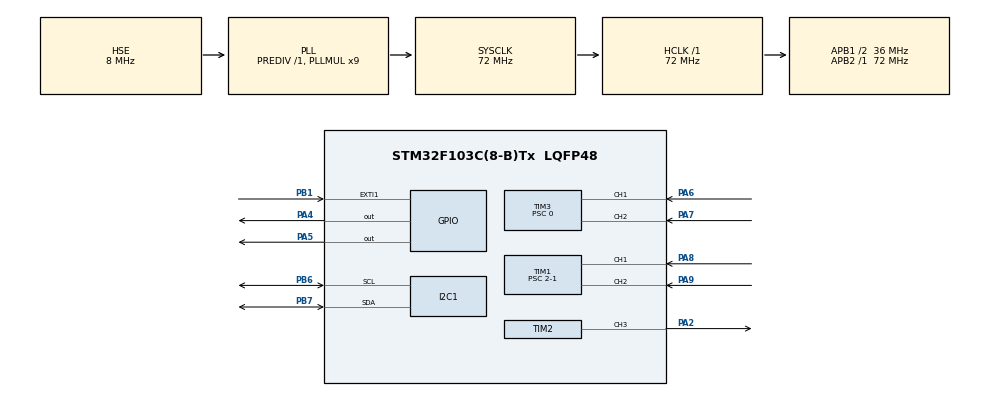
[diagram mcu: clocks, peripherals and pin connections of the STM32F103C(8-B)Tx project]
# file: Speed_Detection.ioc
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Mcu.Family=STM32F1
Mcu.Name=STM32F103C(8-B)Tx
Mcu.Package=LQFP48
NVIC.PriorityGroup=NVIC_PRIORITYGROUP_4
NVIC.TIM3_IRQn=true\:0\:0\:false\:false\:true\:true\:true\:true
PA13.Mode=Serial_Wire
PA13.Signal=SYS_JTMS-SWDIO
PA14.Mode=Serial_Wire
PA14.Signal=SYS_JTCK-SWCLK
PA2.Signal=S_TIM2_CH3
PA4.Signal=GPIO_Output
PA5.Signal=GPIO_Output
PA6.Signal=S_TIM3_CH1
PA7.Signal=S_TIM3_CH2
PA8.Signal=S_TIM1_CH1
PA9.Signal=S_TIM1_CH2
PB1.Signal=GPXTI1
PB6.Mode=I2C
PB6.Signal=I2C1_SCL
PB7.Mode=I2C
PB7.Signal=I2C1_SDA
PD0-OSC_IN.Mode=HSE-External-Oscillator
PD0-OSC_IN.Signal=RCC_OSC_IN
PD1-OSC_OUT.Mode=HSE-External-Oscillator
PD1-OSC_OUT.Signal=RCC_OSC_OUT
ProjectManager.HeapSize=0x200
ProjectManager.StackSize=0x400
ProjectManager.TargetToolchain=STM32CubeIDE
RCC.AHBFreq_Value=72000000
RCC.APB1CLKDivider=RCC_HCLK_DIV2
RCC.APB1Freq_Value=36000000
RCC.APB1TimFreq_Value=72000000
RCC.APB2Freq_Value=72000000
RCC.APB2TimFreq_Value=72000000
RCC.HCLKFreq_Value=72000000
RCC.PLLMUL=RCC_PLL_MUL9
RCC.PLLSourceVirtual=RCC_PLLSOURCE_HSE
RCC.SYSCLKFreq_VALUE=72000000
RCC.SYSCLKSource=RCC_SYSCLKSOURCE_PLLCLK
RCC.USBFreq_Value=72000000
SH.S_TIM1_CH1.0=TIM1_CH1,Encoder_Interface
SH.S_TIM1_CH2.0=TIM1_CH2,Encoder_Interface
SH.S_TIM2_CH3.0=TIM2_CH3,PWM Generation3 CH3
SH.S_TIM3_CH1.0=TIM3_CH1,Encoder_Interface
SH.S_TIM3_CH2.0=TIM3_CH2,Encoder_Interface
TIM1.Prescaler=2-1
TIM2.Channel-PWM\ Generation3\ CH3=TIM_CHANNEL_3
TIM2.OCFastMode_PWM-PWM\ Generation3\ CH3=TIM_OCFAST_ENABLE
TIM2.Period=100-1
TIM2.Prescaler=72-1
TIM2.Pulse-PWM\ Generation3\ CH3=50
TIM3.Period=65535
TIM3.Prescaler=0
VP_TIM2_VS_ClockSourceINT.Mode=Internal
board=custom

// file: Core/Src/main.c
/* USER CODE BEGIN Header */
/**
  ******************************************************************************
  * @file           : main.c
  * @brief          : Main program body
  ******************************************************************************
  * @attention
  *
  * Copyright (c) 2025 STMicroelectronics.
  * All rights reserved.
  *
  * This software is licensed under terms that can be found in the LICENSE file
  * in the root directory of this software component.
  * If no LICENSE file comes with this software, it is provided AS-IS.
  *
  ******************************************************************************
  */
/* USER CODE END Header */
#include "main.h"
#include "i2c.h"
#include "tim.h"
#include "gpio.h"

/* USER CODE BEGIN Includes */
#include<oled.h>
#include<stdio.h>
#include<string.h>
#include<math.h>
/* USER CODE END Includes */

void SystemClock_Config(void);

/* USER CODE BEGIN 0 */
void SetSpeed(int speed)
{
	if(speed > 0){
		HAL_GPIO_WritePin(GPIOA, GPIO_PIN_4, GPIO_PIN_SET);
		HAL_GPIO_WritePin(GPIOA, GPIO_PIN_5, GPIO_PIN_RESET);
	}
	else if(speed < 0){
		HAL_GPIO_WritePin(GPIOA, GPIO_PIN_4, GPIO_PIN_RESET);
		HAL_GPIO_WritePin(GPIOA, GPIO_PIN_5, GPIO_PIN_SET);
		speed = -speed;
	}
	else{
		HAL_GPIO_WritePin(GPIOA, GPIO_PIN_4, GPIO_PIN_RESET);
		HAL_GPIO_WritePin(GPIOA, GPIO_PIN_5, GPIO_PIN_RESET);
	}
	if(speed > 100){
		speed = 100;
	}
	__HAL_TIM_SET_COMPARE(&htim2,TIM_CHANNEL_3,speed);
}

int GetSpeed(TIM_HandleTypeDef *hencoder)
{
	int temp = (int16_t)__HAL_TIM_GET_COUNTER(hencoder);
	__HAL_TIM_SET_COUNTER(hencoder,0);
	return temp;
}
/* USER CODE END 0 */

int main(void)
{

  /* MCU Configuration--------------------------------------------------------*/

  /* Reset of all peripherals, Initializes the Flash interface and the Systick. */
  HAL_Init();

  /* Configure the system clock */
  SystemClock_Config();

  /* Initialize all configured peripherals */
  MX_GPIO_Init();
  MX_I2C1_Init();
  MX_TIM2_Init();
  MX_TIM3_Init();
  MX_TIM1_Init();
  /* USER CODE BEGIN 2 */
  OLED_Init();
  HAL_TIM_Base_Start_IT(&htim3);
  HAL_TIM_PWM_Start(&htim2, TIM_CHANNEL_3);
  __HAL_TIM_SET_COMPARE(&htim2,TIM_CHANNEL_3,0);
  HAL_TIM_Encoder_Start(&htim1, TIM_CHANNEL_ALL);
  HAL_TIM_Encoder_Start(&htim3, TIM_CHANNEL_ALL);

  int count = 50;
  char message[20] = "";
  int speed = 0;
  int encoder_speed = 0;
  int last_tick = 0;
  float rpm = 0;
  char MSG_rpm[20] = "";

  __HAL_TIM_SET_COUNTER(&htim1,count);

  /* USER CODE END 2 */

  /* Infinite loop */
  /* USER CODE BEGIN WHILE */
  while (1)
  {
	  OLED_NewFrame();

	  HAL_GPIO_WritePin(GPIOA, GPIO_PIN_4, GPIO_PIN_SET);
	  HAL_GPIO_WritePin(GPIOA, GPIO_PIN_5, GPIO_PIN_RESET);

	  count = __HAL_TIM_GET_COUNTER(&htim1);

	  if(count > 60000){
		  count = 0;
	  }
	  else if(count > 100){
		  count = 100;
	  }
	  __HAL_TIM_SET_COUNTER(&htim1,count);
	  speed = (count - 50) * 2;

	  sprintf(message,"speed = %d",speed);
	  OLED_PrintString(0, 0, message, &font16x16, OLED_COLOR_NORMAL);

	  SetSpeed(speed);

	  if(HAL_GetTick() - last_tick >= 10) {
	    last_tick = HAL_GetTick();

	    encoder_speed = GetSpeed(&htim3);

	    rpm = ((encoder_speed / 0.01) * 60) / (52 * 30 * 4);
	  }

	  sprintf(MSG_rpm,"rpm = %.2f",rpm);
	  OLED_PrintString(0, 20, MSG_rpm, &font16x16, OLED_COLOR_NORMAL);
	  OLED_ShowFrame();

    /* USER CODE END WHILE */

  }
}

void SystemClock_Config(void)
{
  RCC_OscInitTypeDef RCC_OscInitStruct = {0};
  RCC_ClkInitTypeDef RCC_ClkInitStruct = {0};

  /** Initializes the RCC Oscillators according to the specified parameters
  * in the RCC_OscInitTypeDef structure.
  */
  RCC_OscInitStruct.OscillatorType = RCC_OSCILLATORTYPE_HSE;
  RCC_OscInitStruct.HSEState = RCC_HSE_ON;
  RCC_OscInitStruct.HSEPredivValue = RCC_HSE_PREDIV_DIV1;
  RCC_OscInitStruct.HSIState = RCC_HSI_ON;
  RCC_OscInitStruct.PLL.PLLState = RCC_PLL_ON;
  RCC_OscInitStruct.PLL.PLLSource = RCC_PLLSOURCE_HSE;
  RCC_OscInitStruct.PLL.PLLMUL = RCC_PLL_MUL9;
  if (HAL_RCC_OscConfig(&RCC_OscInitStruct) != HAL_OK)
  {
    Error_Handler();
  }

  /** Initializes the CPU, AHB and APB buses clocks
  */
  RCC_ClkInitStruct.ClockType = RCC_CLOCKTYPE_HCLK|RCC_CLOCKTYPE_SYSCLK
                              |RCC_CLOCKTYPE_PCLK1|RCC_CLOCKTYPE_PCLK2;
  RCC_ClkInitStruct.SYSCLKSource = RCC_SYSCLKSOURCE_PLLCLK;
  RCC_ClkInitStruct.AHBCLKDivider = RCC_SYSCLK_DIV1;
  RCC_ClkInitStruct.APB1CLKDivider = RCC_HCLK_DIV2;
  RCC_ClkInitStruct.APB2CLKDivider = RCC_HCLK_DIV1;

  if (HAL_RCC_ClockConfig(&RCC_ClkInitStruct, FLASH_LATENCY_2) != HAL_OK)
  {
    Error_Handler();
  }
}

void Error_Handler(void)
{
  __disable_irq();
  while (1)
  {
  }
}
